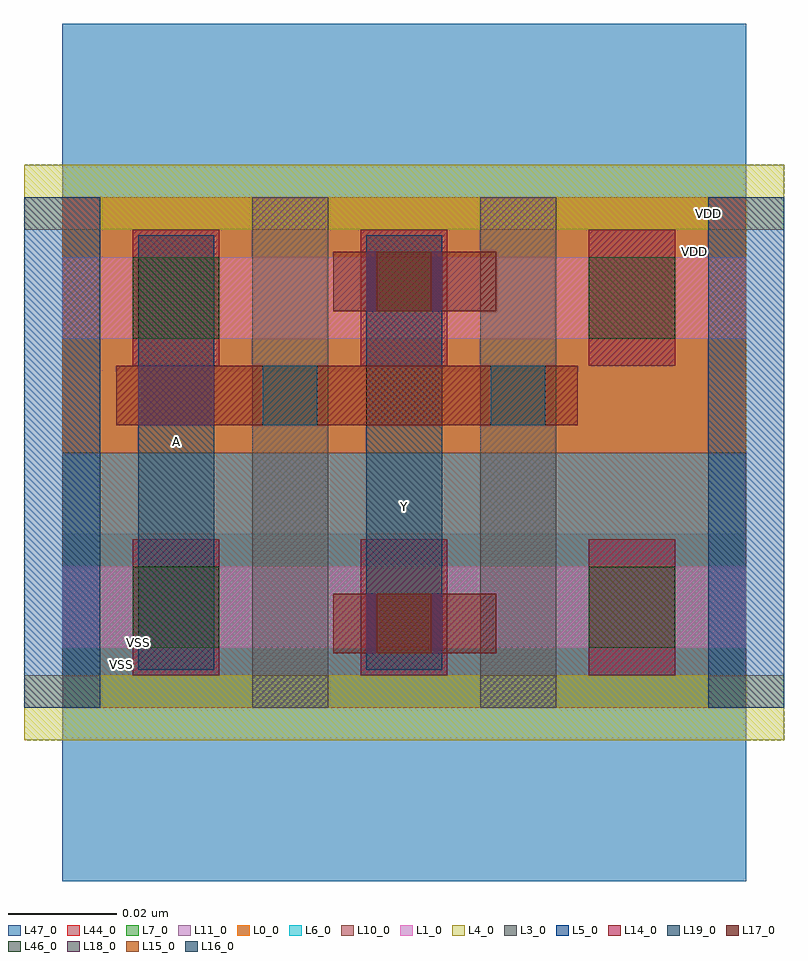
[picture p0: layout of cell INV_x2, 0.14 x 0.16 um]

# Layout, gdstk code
import gdstk
lib = gdstk.Library(unit=1e-6, precision=5e-10)
def R(c, l, rs):  # rectangles x0, y0, x1, y1
    for r in rs: c.add(gdstk.rectangle(r[:2], r[2:], *l))
def A(c, l, x, y, w, h, nx, ny, dx, dy):  # array of equal rectangles
    R(c, l, [(x+i*dx, y+j*dy, x+i*dx+w, y+j*dy+h) for i in range(nx) for j in range(ny)])
L0_0 = (0, 0)
L1_0 = (1, 0)
L3_0 = (3, 0)
L4_0 = (4, 0)
L5_0 = (5, 0)
L6_0 = (6, 0)
L7_0 = (7, 0)
L10_0 = (10, 0)
L11_0 = (11, 0)
L14_0 = (14, 0)
L15_0 = (15, 0)
L16_0 = (16, 0)
L17_0 = (17, 0)
L18_0 = (18, 0)
L19_0 = (19, 0)
L44_0 = (44, 0)
L46_0 = (46, 0)
L47_0 = (47, 0)

inv_x2 = lib.new_cell('INV_x2')
R(inv_x2, L0_0, [(0,0.047,0.126,0.094)])
R(inv_x2, L1_0, [(0,0.011,0.126,0.026), (0,0.068,0.126,0.083)])
R(inv_x2, L3_0, [(0.035,0,0.049,0.094), (0.077,0,0.091,0.094)])
R(inv_x2, L4_0, [(-0.007,-0.006,0.133,0.006), (-0.007,0.088,0.133,0.1)])
R(inv_x2, L5_0, [(-0.007,0,0.007,0.094), (0.119,0,0.133,0.094)])
R(inv_x2, L6_0, [(0,0,0.126,0.047)])
R(inv_x2, L7_0, [(0,0.047,0.126,0.094)])
R(inv_x2, L10_0, [(0,0,0.126,0.047)])
R(inv_x2, L11_0, [(0,0.047,0.126,0.094)])
A(inv_x2, L14_0, 0.013, 0.006, 0.016, 0.025, 3, 2, 0.042, 0.057)
R(inv_x2, L15_0, [(0.058,0.01,0.068,0.021), (0.058,0.073,0.068,0.084)])
R(inv_x2, L16_0, [(0.037,0.052,0.047,0.063), (0.079,0.052,0.089,0.063)])
R(inv_x2, L17_0, [(0.05,0.01,0.08,0.021), (0.01,0.052,0.095,0.063), (0.05,0.073,0.08,0.084)])
R(inv_x2, L18_0, [(0.056,0.01,0.07,0.021), (0.014,0.052,0.028,0.063), (0.056,0.073,0.07,0.084)])
R(inv_x2, L19_0, [(0.014,0.007,0.028,0.087), (0.056,0.007,0.07,0.087)])
R(inv_x2, L44_0, [(0,0,0.126,0.094)])
R(inv_x2, L46_0, [(0.013,0.011,0.029,0.026), (0.097,0.011,0.113,0.026), (0.013,0.068,0.029,0.083), (0.097,0.068,0.113,0.083)])
R(inv_x2, L47_0, [(0,-0.032,0.126,0.032), (0,0.062,0.126,0.126)])
inv_x2.add(gdstk.Label('VSS', (0.014,0.012), layer=47, texttype=2))
inv_x2.add(gdstk.Label('VDD', (0.1165,0.084), layer=47, texttype=2))
inv_x2.add(gdstk.Label('VDD', (0.119,0.091), layer=0, texttype=2))
inv_x2.add(gdstk.Label('Y', (0.063,0.037), layer=19, texttype=2))
inv_x2.add(gdstk.Label('A', (0.021,0.049), layer=19, texttype=2))
inv_x2.add(gdstk.Label('VSS', (0.011,0.008), layer=54, texttype=2))

lib.write_gds('INV_x2.gds')
